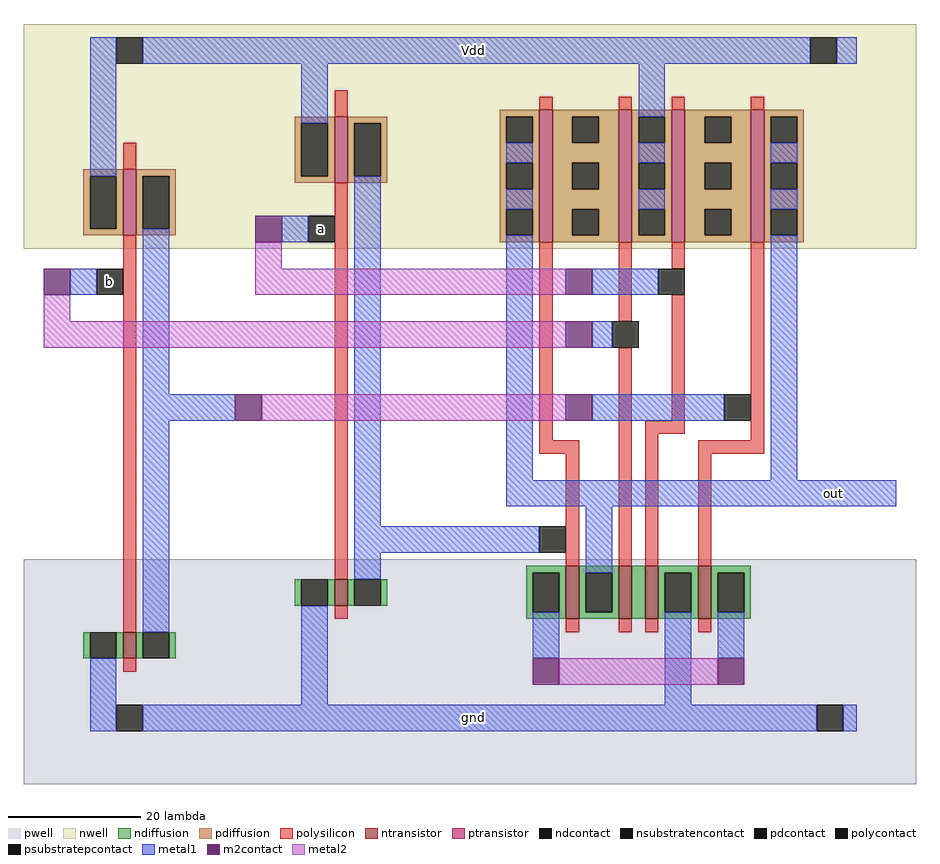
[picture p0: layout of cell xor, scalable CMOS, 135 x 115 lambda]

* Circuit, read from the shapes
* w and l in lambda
.subckt xor Vdd a b gnd out
M1 n1 b gnd gnd nfet w=4 l=2
M2 n2 a gnd gnd nfet w=4 l=2
M3 out n2 n3 gnd nfet w=8 l=2
M4 n4 b out gnd nfet w=8 l=2
M5 gnd a n4 gnd nfet w=8 l=2
M6 n3 n1 gnd gnd nfet w=8 l=2
M7 n1 b Vdd Vdd pfet w=10 l=2
M8 n2 a Vdd Vdd pfet w=10 l=2
M9 n5 n2 out Vdd pfet w=20 l=2
M10 Vdd b n5 Vdd pfet w=20 l=2
M11 n6 a Vdd Vdd pfet w=20 l=2
M12 out n1 n6 Vdd pfet w=20 l=2
.ends

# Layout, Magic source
magic
tech scmos
<< pwell >>
rect -81 -28 54 6
<< nwell >>
rect -81 53 54 87
<< polysilicon >>
rect -34 73 -32 77
rect -3 74 -1 76
rect 9 74 11 76
rect 17 74 19 76
rect 29 74 31 76
rect -66 65 -64 69
rect -66 -5 -64 55
rect -34 3 -32 63
rect -3 24 -1 54
rect 9 42 11 54
rect 17 50 19 54
rect -3 22 3 24
rect 1 5 3 22
rect 9 5 11 38
rect 17 27 19 46
rect 13 25 19 27
rect 13 5 15 25
rect 29 24 31 54
rect 21 22 31 24
rect 21 5 23 22
rect -34 -3 -32 -1
rect 1 -5 3 -3
rect 9 -5 11 -3
rect 13 -5 15 -3
rect 21 -5 23 -3
rect -66 -11 -64 -9
<< ndiffusion >>
rect -5 4 1 5
rect -40 -1 -39 3
rect -35 -1 -34 3
rect -32 -1 -31 3
rect -27 -1 -26 3
rect -5 -2 -4 4
rect 0 -2 1 4
rect -5 -3 1 -2
rect 3 4 9 5
rect 3 -2 4 4
rect 8 -2 9 4
rect 3 -3 9 -2
rect 11 -3 13 5
rect 15 4 21 5
rect 15 -2 16 4
rect 20 -2 21 4
rect 15 -3 21 -2
rect 23 4 29 5
rect 23 -2 24 4
rect 28 -2 29 4
rect 23 -3 29 -2
rect -72 -9 -71 -5
rect -67 -9 -66 -5
rect -64 -9 -63 -5
rect -59 -9 -58 -5
<< pdiffusion >>
rect -9 73 -3 74
rect -40 72 -34 73
rect -72 64 -66 65
rect -72 56 -71 64
rect -67 56 -66 64
rect -72 55 -66 56
rect -64 64 -58 65
rect -64 56 -63 64
rect -59 56 -58 64
rect -40 64 -39 72
rect -35 64 -34 72
rect -40 63 -34 64
rect -32 72 -26 73
rect -32 64 -31 72
rect -27 64 -26 72
rect -32 63 -26 64
rect -9 69 -8 73
rect -4 69 -3 73
rect -9 66 -3 69
rect -64 55 -58 56
rect -9 62 -8 66
rect -4 62 -3 66
rect -9 59 -3 62
rect -9 55 -8 59
rect -4 55 -3 59
rect -9 54 -3 55
rect -1 73 9 74
rect -1 69 2 73
rect 6 69 9 73
rect -1 66 9 69
rect -1 62 2 66
rect 6 62 9 66
rect -1 59 9 62
rect -1 55 2 59
rect 6 55 9 59
rect -1 54 9 55
rect 11 73 17 74
rect 11 69 12 73
rect 16 69 17 73
rect 11 66 17 69
rect 11 62 12 66
rect 16 62 17 66
rect 11 59 17 62
rect 11 55 12 59
rect 16 55 17 59
rect 11 54 17 55
rect 19 73 29 74
rect 19 69 22 73
rect 26 69 29 73
rect 19 66 29 69
rect 19 62 22 66
rect 26 62 29 66
rect 19 59 29 62
rect 19 55 22 59
rect 26 55 29 59
rect 19 54 29 55
rect 31 73 37 74
rect 31 69 32 73
rect 36 69 37 73
rect 31 66 37 69
rect 31 62 32 66
rect 36 62 37 66
rect 31 59 37 62
rect 31 55 32 59
rect 36 55 37 59
rect 31 54 37 55
<< metal1 >>
rect -71 64 -67 85
rect -63 81 38 85
rect 42 81 45 85
rect -39 72 -35 81
rect 12 73 16 81
rect -74 46 -70 50
rect -63 31 -59 56
rect -42 54 -38 58
rect -63 27 -49 31
rect -63 -5 -59 27
rect -31 11 -27 64
rect -8 66 -4 69
rect 12 66 16 69
rect 32 66 36 69
rect -8 59 -4 62
rect 12 59 16 62
rect 32 59 36 62
rect -8 18 -4 55
rect 5 46 15 50
rect 5 38 8 42
rect 5 27 25 31
rect 32 18 36 55
rect -8 14 51 18
rect -31 7 -3 11
rect -31 3 -27 7
rect 4 4 8 14
rect -71 -20 -67 -9
rect -39 -16 -35 -1
rect -4 -9 0 -2
rect 16 -16 20 -2
rect 24 -9 28 -2
rect -63 -20 39 -16
rect 43 -20 45 -16
<< metal2 >>
rect -46 50 -42 54
rect -46 46 1 50
rect -78 42 -74 46
rect -78 38 1 42
rect -45 27 1 31
rect 0 -13 24 -9
<< ntransistor >>
rect -34 -1 -32 3
rect 1 -3 3 5
rect 9 -3 11 5
rect 13 -3 15 5
rect 21 -3 23 5
rect -66 -9 -64 -5
<< ptransistor >>
rect -66 55 -64 65
rect -34 63 -32 73
rect -3 54 -1 74
rect 9 54 11 74
rect 17 54 19 74
rect 29 54 31 74
<< polycontact >>
rect -70 46 -66 50
rect -38 54 -34 58
rect 15 46 19 50
rect 8 38 12 42
rect -3 7 1 11
rect 25 27 29 31
<< ndcontact >>
rect -39 -1 -35 3
rect -31 -1 -27 3
rect -4 -2 0 4
rect 4 -2 8 4
rect 16 -2 20 4
rect 24 -2 28 4
rect -71 -9 -67 -5
rect -63 -9 -59 -5
<< pdcontact >>
rect -71 56 -67 64
rect -63 56 -59 64
rect -39 64 -35 72
rect -31 64 -27 72
rect -8 69 -4 73
rect -8 62 -4 66
rect -8 55 -4 59
rect 2 69 6 73
rect 2 62 6 66
rect 2 55 6 59
rect 12 69 16 73
rect 12 62 16 66
rect 12 55 16 59
rect 22 69 26 73
rect 22 62 26 66
rect 22 55 26 59
rect 32 69 36 73
rect 32 62 36 66
rect 32 55 36 59
<< m2contact >>
rect -78 46 -74 50
rect -46 54 -42 58
rect -49 27 -45 31
rect 1 46 5 50
rect 1 38 5 42
rect 1 27 5 31
rect -4 -13 0 -9
rect 24 -13 28 -9
<< psubstratepcontact >>
rect -67 -20 -63 -16
rect 39 -20 43 -16
<< nsubstratencontact >>
rect -67 81 -63 85
rect 38 81 42 85
<< labels >>
rlabel nwell -71 81 45 85 0 Vdd
rlabel pwell -71 -20 45 -16 0 gnd
rlabel metal1 32 14 51 18 0 out
rlabel polycontact -38 54 -34 58 0 a
rlabel polycontact -70 46 -66 50 0 b
<< end >>
